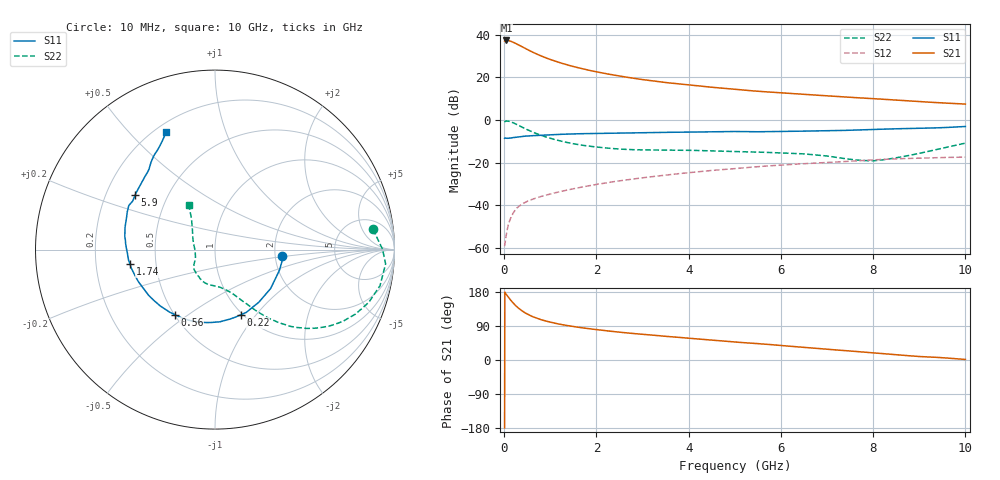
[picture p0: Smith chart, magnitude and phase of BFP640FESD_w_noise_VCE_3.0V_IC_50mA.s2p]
! Infineon Technologies  Discrete & RF Semiconductors
! BFP640FESD
! VCE =  3.0 V,  IC =  50 mA
! Common Emitter S-Parameters:  Jan 2016
# GHz  S  MA  R  50
!  f  S11  S21  S12  S22
! GHz  MAG  ANG  MAG  ANG  MAG  ANG  MAG  ANG
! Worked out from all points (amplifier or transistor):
!   233 points, 10 MHz to 10 GHz, reference 50 ohm
!   highest |S21| = 37.4 dB at 50 MHz (marker M1)
!   |S21| within 3 dB of that: start of sweep to 393.3 MHz
!   unconditionally stable (mu >= 1): start of sweep to 11.69 MHz; 2.219 GHz to end of sweep
!   at 200 MHz: K = 0.26, MSG = 40.0 dB, |S12| = -43.5 dB
!   at 1.74 GHz: K = 0.95, MSG = 27.6 dB, |S12| = -31.2 dB
!   at 10 GHz: K = 1.06, MAG = 11.0 dB, |S12| = -17.4 dB
!   lowest NFmin = 1.40 dB at 450 MHz
!   S11 on the Smith chart (normalised r, x): 10 MHz: 2.18, -0.17; 220 MHz: 0.98, -0.84; 560 MHz: 0.50, -0.44; 1.74 GHz: 0.35, -0.08; 5.9 GHz: 0.33, +0.28; 10 GHz: 0.24, +0.64
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0.01  0.374 -5.2  71.63 -179.2  0.0011 105.6  0.8881 7.3
0.02  0.3811 -7.6  73.75 177.2  0.0013 104.8  0.9334 0.1
0.05  0.377 -17.9  73.86 172.7  0.0021 83.8  0.9539 -4.8
0.1  0.3783 -35.0  73.12 164.7  0.0038 78.0  0.941 -12.4
0.15  0.3816 -50.3  70.34 156.8  0.0053 74.8  0.9057 -19.0
0.22  0.3906 -68.5  65.3 147.3  0.0072 69.5  0.8412 -26.6
0.3  0.4033 -86.2  59.15 137.8  0.0091 65.7  0.7646 -33.9
0.36  0.4094 -96.8  54.65 132.2  0.0102 63.6  0.7084 -38.2
0.45  0.4193 -109.9  48.43 124.7  0.0117 61.4  0.6337 -43.3
0.56  0.4261 -121.9  42.15 117.8  0.0132 60.1  0.5577 -47.8
0.76  0.4402 -137.7  33.44 108.1  0.0156 59.6  0.4554 -53.5
1  0.4524 -150.2  26.39 99.8  0.0184 60.5  0.3732 -58.3
1.3  0.4666 -160.4  20.73 92.3  0.022 62.0  0.3083 -63.2
1.68  0.4791 -169.2  16.17 85.2  0.0267 63.4  0.2584 -69.2
1.74  0.4803 -170.2  15.61 84.2  0.0274 63.5  0.253 -70.1
2.4  0.4934 179.4  11.27 74.7  0.0362 64.0  0.2127 -81.9
3.4  0.5142 167.3  7.87 63.7  0.0497 62.3  0.1989 -98.8
5.1  0.5378 152.2  5.15 46.6  0.074 56.0  0.1815 -117.5
5.9  0.5392 145.5  4.445 39.3  0.0867 51.7  0.1717 -125.3
6.8  0.5577 136.0  3.83 30.3  0.0985 46.5  0.1502 -141.2
8.4  0.6207 123.6  2.992 14.7  0.1221 36.9  0.1252 163.4
10  0.7074 112.7  2.378 1.4  0.1353 26.0  0.2881 120.5
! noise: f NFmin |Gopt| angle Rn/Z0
0.45  1.4  0.33  -171  0.09
2.4  1.49  0.36  -152  0.11
5.5  1.92  0.39  -139  0.16
10  2.79  0.55  -95  0.74
